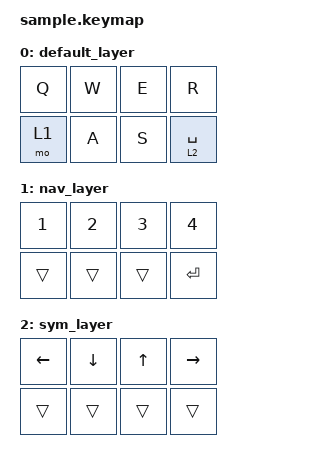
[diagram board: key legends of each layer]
/*
 * Sample ZMK keymap fixture (synthetic).
 */
#include <behaviors.dtsi>
#include <dt-bindings/zmk/keys.h>

/ {
    keymap {
        compatible = "zmk,keymap";

        default_layer {
            bindings = <
                &kp Q &kp W &kp E &kp R
                &mo 1 &kp A &kp S &lt 2 SPACE
            >;
        };

        nav_layer {
            bindings = <
                &kp N1 &kp N2 &kp N3 &kp N4
                &trans &trans &trans &kp ENTER
            >;
        };

        sym_layer {
            bindings = <
                &kp LEFT &kp DOWN &kp UP &kp RIGHT
                &trans &trans &trans &trans
            >;
        };
    };
};
